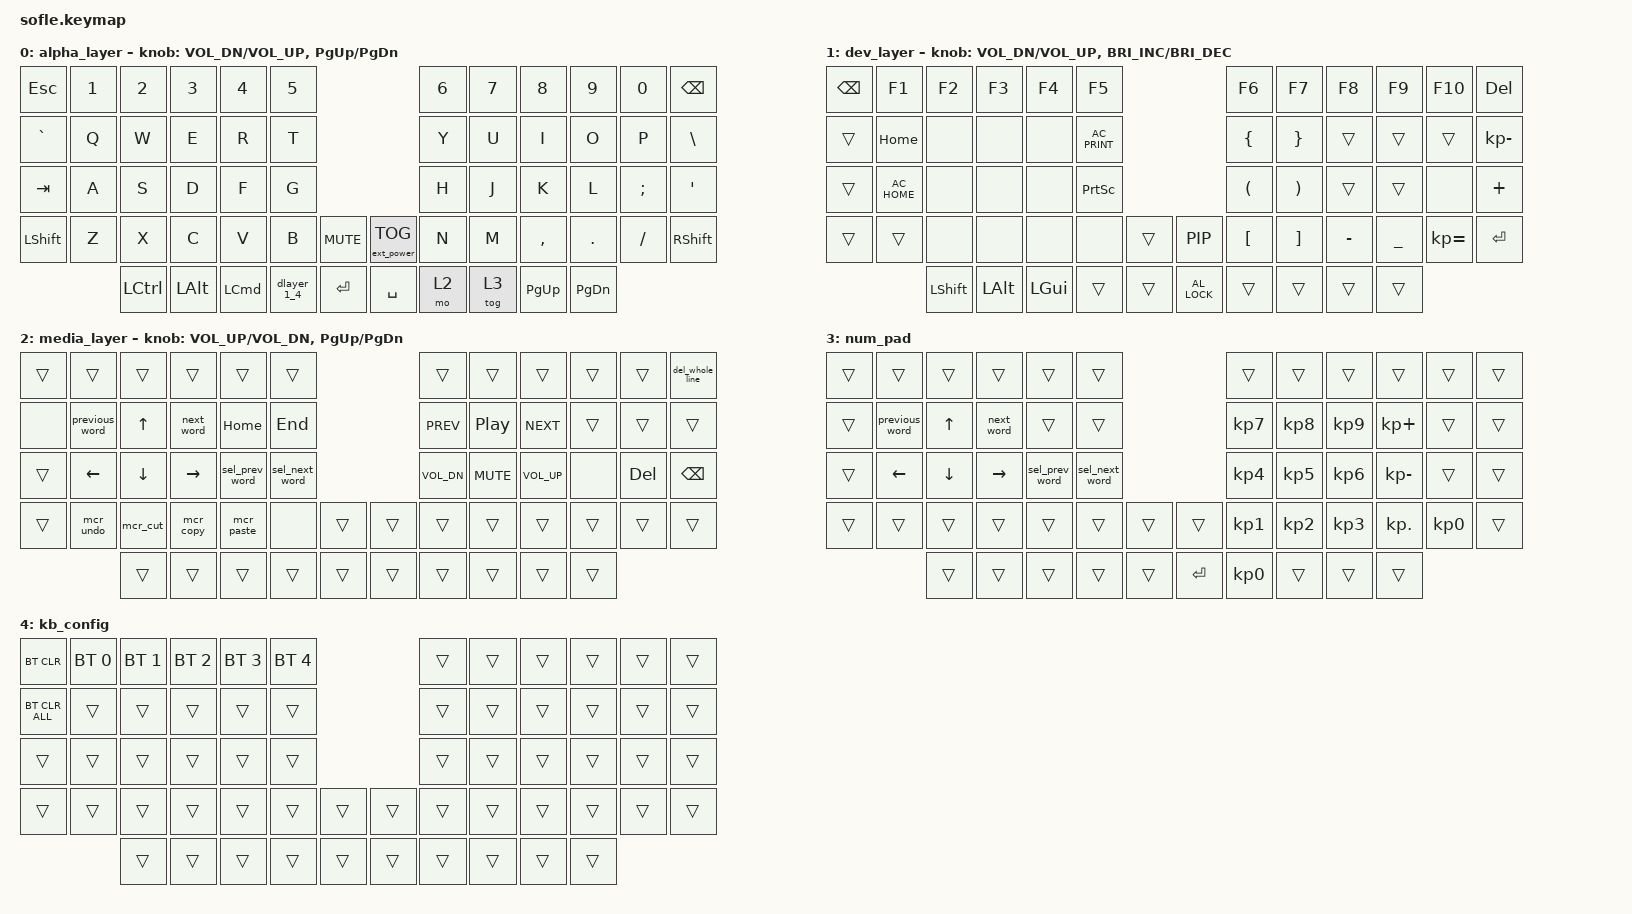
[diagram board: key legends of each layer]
/*
 * Copyright (c) 2020 The ZMK Contributors
 *
 * SPDX-License-Identifier: MIT
 */

#include <behaviors.dtsi>
#include <dt-bindings/zmk/bt.h>
#include <dt-bindings/zmk/ext_power.h>
#include <dt-bindings/zmk/keys.h>
#include <dt-bindings/zmk/keys.h>

/ {
    macros {
        mcr_copy: mcr_copy {
            compatible = "zmk,behavior-macro";
            #binding-cells = <0>;
            bindings = <&kt LEFT_COMMAND &kp C &kt LEFT_COMMAND>;
            label = "MCR_COPY";
        };

        mcr_paste: mcr_paste {
            compatible = "zmk,behavior-macro";
            #binding-cells = <0>;
            bindings = <&kt LEFT_COMMAND &kp V &kt LEFT_COMMAND>;
            label = "MCR_PASTE";
        };

        mcr_undo: mcr_undo {
            compatible = "zmk,behavior-macro";
            #binding-cells = <0>;
            bindings = <&kt LEFT_COMMAND &kp Z &kt LEFT_COMMAND>;
            label = "MCR_UNDO";
        };

        mcr_cut: mcr_cut {
            compatible = "zmk,behavior-macro";
            #binding-cells = <0>;
            bindings = <&kt LEFT_GUI &kp X &kt LEFT_COMMAND>;
            label = "MCR_CUT";
        };

        previous_word: previous_word {
            compatible = "zmk,behavior-macro";
            #binding-cells = <0>;
            bindings = <&kt LEFT_ALT &kp LEFT &kt LEFT_ALT>;
            label = "PREVIOUS_WORD";
        };

        next_word: next_word {
            compatible = "zmk,behavior-macro";
            #binding-cells = <0>;
            bindings = <&kt LEFT_ALT &kp RIGHT &kt LEFT_ALT>;
            label = "NEXT_WORD";
        };

        sel_prev_word: sel_prev_word {
            compatible = "zmk,behavior-macro";
            #binding-cells = <0>;
            bindings = <&kt LEFT_ALT &kt LEFT_SHIFT &kp LEFT &kt LEFT_SHIFT &kt LEFT_ALT>;
            label = "SEL_PREV_WORD";
        };

        sel_next_word: sel_next_word {
            compatible = "zmk,behavior-macro";
            #binding-cells = <0>;
            bindings = <&kt LEFT_ALT &kt LEFT_SHIFT &kp RIGHT &kt LEFT_SHIFT &kt LEFT_ALT>;
            label = "SEL_NEXT_WORD";
        };

        del_whole_line: del_whole_line {
            compatible = "zmk,behavior-macro";
            #binding-cells = <0>;
            bindings = <&kp C_AC_HOME &sk LEFT_SHIFT &kp END &kp DELETE>;
            label = "DEL_WHOLE_LINE";
        };
    };

    behaviors {
        dlayer_1_4: dlayer_1_4 {
            compatible = "zmk,behavior-tap-dance";
            label = "DLAYER_1_4";
            #binding-cells = <0>;
            tapping-term-ms = <0>;
            bindings = <&mo 1>, <&mo 4>;
        };
    };

    keymap {
        compatible = "zmk,keymap";

        alpha_layer {
            // ------------------------------------------------------------------------------------------------------------
            // |  `    |  1  |  2  |  3   |  4   |  5   |                   |  6   |  7    |  8    |  9   |   0   |       |
            // |  ESC  |  Q  |  W  |  E   |  R   |  T   |                   |  Y   |  U    |  I    |  O   |   P   | BKSPC |
            // |  TAB  |  A  |  S  |  D   |  F   |  G   |                   |  H   |  J    |  K    |  L   |   ;   |   '   |
            // | SHIFT |  Z  |  X  |  C   |  V   |  B   |  MUTE  |  |       |  N   |  M    |  ,    |  .   |   /   | SHIFT |
            //               | GUI | ALT  | CTRL | LOWER|  ENTER |  | SPACE | RAISE| CTRL  | ALT   | GUI  |

            bindings = <
&kp ESC    &kp N1  &kp N2            &kp N3    &kp N4            &kp N5                                        &kp N6  &kp N7  &kp N8     &kp N9     &kp N0    &kp BACKSPACE
&kp GRAVE  &kp Q   &kp W             &kp E     &kp R             &kp T                                         &kp Y   &kp U   &kp I      &kp O      &kp P     &kp BACKSLASH
&kp TAB    &kp A   &kp S             &kp D     &kp F             &kp G                                         &kp H   &kp J   &kp K      &kp L      &kp SEMI  &kp SINGLE_QUOTE
&kp LSHFT  &kp Z   &kp X             &kp C     &kp V             &kp B        &kp C_MUTE    &ext_power EP_TOG  &kp N   &kp M   &kp COMMA  &kp DOT    &kp FSLH  &kp RIGHT_SHIFT
                   &kp LEFT_CONTROL  &kp LALT  &kp LEFT_COMMAND  &dlayer_1_4  &kp ENTER     &kp SPACE          &mo 2   &tog 3  &kp PG_UP  &kp PG_DN
            >;

            sensor-bindings =
                <&inc_dec_kp C_VOL_DN C_VOL_UP>,
                <&inc_dec_kp PG_UP PG_DN>;
        };

        dev_layer {
            // TODO: Some binds are waiting for shifted keycode support.
            // ------------------------------------------------------------------------------------------------------------
            // | `     |  F1 |  F2 |  F3  |  F4  |  F5  |                   |  F6  |  F7   |  F8   |  F9  |  F10  |  F11  |
            // | RAISE |   1 |   2 |   3  |   4  |   5  |                   |   6  |   7   |   8   |   9  |    0  |  F12  |
            // |       |  !  |  @  |  #   |  $   |  %   |                   |  ^   |  &    |  *    |  (   |   )   |   |   |
            // |       |  =  |  -  |  +   |  {   |  }   |        |  |       |  [   |  ]    |  ;    |  :   |   \   |       |
            //               |     |      |      |      |        |  |       |      |       |       |      |

            bindings = <
&kp BACKSPACE  &kp F1         &kp F2          &kp F3        &kp F4        &kp F5                                    &kp F6                &kp F7                 &kp F8     &kp F9     &kp F10       &kp DELETE
&trans         &kp HOME       &none           &none         &none         &kp C_AC_PRINT                            &kp LEFT_BRACE        &kp RIGHT_BRACE        &trans     &trans     &trans        &kp KP_MINUS
&trans         &kp C_AC_HOME  &none           &none         &none         &kp PRINTSCREEN                           &kp LEFT_PARENTHESIS  &kp RIGHT_PARENTHESIS  &trans     &trans     &none         &kp PLUS
&trans         &trans         &none           &none         &none         &none            &trans    &kp C_PIP      &kp LBKT              &kp RBKT               &kp MINUS  &kp UNDER  &kp KP_EQUAL  &kp ENTER
                              &kp LEFT_SHIFT  &kp LEFT_ALT  &kp LEFT_GUI  &trans           &trans    &kp C_AL_LOCK  &trans                &trans                 &trans     &trans
            >;

            sensor-bindings =
                <&inc_dec_kp C_VOL_DN C_VOL_UP>,
                <&inc_dec_kp C_BRIGHTNESS_INC C_BRIGHTNESS_DEC>;
        };

        media_layer {
            // ------------------------------------------------------------------------------------------------------------
            // |BTCLR| BT1  | BT2  |  BT3  |  BT4  |  BT5 |                |      |      |       |      |       |       |
            // |     | INS  | PSCR | GUI   |       |      |                | PGUP |      |       |      |       |       |
            // |     | ALT  | CTRL | SHIFT |       | CAPS |                |  <-  |   v  |   ^   |  ->  |  DEL  | BKSPC |
            // |     | UNDO | CUT  | COPY  | PASTE |      |      |  |      |      |      |       |      |       |       |
            //              |      |       |       |      |      |  |      |      |      |       |      |

            bindings = <
&trans  &trans          &trans    &trans      &trans          &trans                            &trans        &trans      &trans        &trans  &trans   &del_whole_line
&none   &previous_word  &kp UP    &next_word  &kp HOME        &kp END                           &kp C_PREV    &kp C_PP    &kp C_NEXT    &trans  &trans   &trans
&trans  &kp LEFT        &kp DOWN  &kp RIGHT   &sel_prev_word  &sel_next_word                    &kp C_VOL_DN  &kp C_MUTE  &kp C_VOL_UP  &none   &kp DEL  &kp BSPC
&trans  &mcr_undo       &mcr_cut  &mcr_copy   &mcr_paste      &none           &trans    &trans  &trans        &trans      &trans        &trans  &trans   &trans
                        &trans    &trans      &trans          &trans          &trans    &trans  &trans        &trans      &trans        &trans
            >;

            sensor-bindings = <&inc_dec_kp C_VOL_UP C_VOL_DN &inc_dec_kp PG_UP PG_DN>;
        };

        num_pad {
            bindings = <
&trans  &trans          &trans        &trans      &trans          &trans                               &trans           &trans           &trans           &trans           &trans     &trans
&trans  &previous_word  &kp UP_ARROW  &next_word  &trans          &trans                               &kp KP_NUMBER_7  &kp KP_NUMBER_8  &kp KP_NUMBER_9  &kp KP_PLUS      &trans     &trans
&trans  &kp LEFT_ARROW  &kp DOWN      &kp RIGHT   &sel_prev_word  &sel_next_word                       &kp KP_NUMBER_4  &kp KP_NUMBER_5  &kp KP_NUMBER_6  &kp KP_SUBTRACT  &trans     &trans
&trans  &trans          &trans        &trans      &trans          &trans          &trans    &trans     &kp KP_NUMBER_1  &kp KP_NUMBER_2  &kp KP_NUMBER_3  &kp KP_DOT       &kp KP_N0  &trans
                        &trans        &trans      &trans          &trans          &trans    &kp ENTER  &kp KP_N0        &trans           &trans           &trans
            >;
        };

        kb_config {
            bindings = <
&bt BT_CLR      &bt BT_SEL 0  &bt BT_SEL 1  &bt BT_SEL 2  &bt BT_SEL 3  &bt BT_SEL 4                    &trans  &trans  &trans  &trans  &trans  &trans
&bt BT_CLR_ALL  &trans        &trans        &trans        &trans        &trans                          &trans  &trans  &trans  &trans  &trans  &trans
&trans          &trans        &trans        &trans        &trans        &trans                          &trans  &trans  &trans  &trans  &trans  &trans
&trans          &trans        &trans        &trans        &trans        &trans        &trans    &trans  &trans  &trans  &trans  &trans  &trans  &trans
                              &trans        &trans        &trans        &trans        &trans    &trans  &trans  &trans  &trans  &trans
            >;
        };
    };
};
